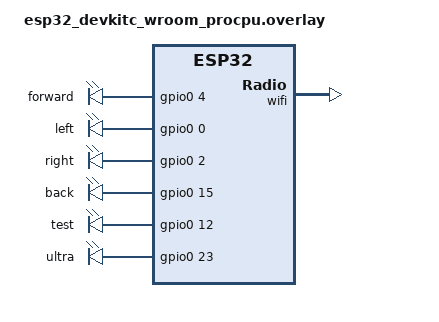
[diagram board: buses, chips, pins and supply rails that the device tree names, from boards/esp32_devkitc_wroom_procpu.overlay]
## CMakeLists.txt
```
# SPDX-License-Identifier: Apache-2.0

cmake_minimum_required(VERSION 3.20.0)

find_package(Zephyr REQUIRED HINTS $ENV{ZEPHYR_BASE})
project(wifi_apsta_mode)

FILE(GLOB app_sources src/*.c)
target_sources(app PRIVATE ${app_sources})
```

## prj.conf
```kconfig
# I literally just copied some config settings over:
# Copyright (c) 2023 Craig Peacock.
#
# SPDX-License-Identifier: Apache-2.0
#

CONFIG_WIFI=y
CONFIG_INIT_STACKS=y
CONFIG_NET_L2_WIFI_MGMT=y

CONFIG_NETWORKING=y
CONFIG_NET_IPV4=y
CONFIG_NET_UDP=y
CONFIG_NET_TCP=y
CONFIG_DNS_RESOLVER=y
CONFIG_DNS_RESOLVER_AI_MAX_ENTRIES=10

CONFIG_NET_SOCKETS=y
CONFIG_HTTP_CLIENT=y

# Use DHCP for IPv4
CONFIG_NET_DHCPV4=y

# Or assign a static IP address (useful for testing)
# Following line must be enabled, otherwise WiFi connection fails with -1.
CONFIG_NET_CONFIG_SETTINGS=y
# Add CONFIG_INIT_TIMEOUT to prevent 30 second timeout when starting:
# [00:00:30.600,250] <err> net_config: Timeout while waiting network interface
# [00:00:30.600,250] <err> net_config: Network initialization failed (-115)
CONFIG_NET_CONFIG_INIT_TIMEOUT=1
#CONFIG_NET_CONFIG_NEED_IPV4=y
#CONFIG_NET_CONFIG_MY_IPV4_ADDR="192.168.0.12"
#CONFIG_NET_CONFIG_MY_IPV4_GW="192.168.0.254"
#CONFIG_NET_CONFIG_NEED_IPV6=y
#CONFIG_NET_CONFIG_MY_IPV6_ADDR="fe80::100"

# Enabling logging can be helpful for debugging
CONFIG_NET_LOG=y
CONFIG_WIFI_LOG_LEVEL_ERR=y
#CONFIG_NET_IPV6_LOG_LEVEL_DBG=y

CONFIG_NET_TX_STACK_SIZE=4096
CONFIG_NET_RX_STACK_SIZE=4096

CONFIG_NET_PKT_RX_COUNT=10
CONFIG_NET_PKT_TX_COUNT=10

CONFIG_NET_BUF_RX_COUNT=20
CONFIG_NET_BUF_TX_COUNT=20

CONFIG_NET_MAX_CONTEXTS=10

# Added to prevent error with missing #include <ethernet/eth_stats.h> for esp_wifi_drv.c
# Adding this line will cause CMAKE Warning: No SOURCES given to Zephyr library: drivers__ethernet
# Just ignore.
CONFIG_NET_L2_ETHERNET=y

CONFIG_PRINTK_BUFFER_SIZE=2048

# Wi-Fi Configuration
CONFIG_WIFI=y

# Network Configuration
CONFIG_NET_CONFIG_AUTO_INIT=n
CONFIG_NET_CONNECTION_MANAGER=y
CONFIG_NET_DHCPV4=y
CONFIG_NET_DHCPV4_SERVER=y
CONFIG_NET_IF_MAX_IPV4_COUNT=2
CONFIG_NET_IF_MAX_IPV6_COUNT=2
CONFIG_NET_IPV4=y
CONFIG_NET_L2_ETHERNET=y
CONFIG_NET_L2_WIFI_MGMT=y
CONFIG_NET_MGMT=y
CONFIG_NET_MGMT_EVENT=y
CONFIG_NET_MGMT_EVENT_INFO=y
CONFIG_NET_MGMT_EVENT_QUEUE_SIZE=10
CONFIG_NET_MGMT_EVENT_STACK_SIZE=4096
CONFIG_NET_PKT_RX_COUNT=16
CONFIG_NET_PKT_TX_COUNT=16
CONFIG_NET_SOCKETS_SERVICE_STACK_SIZE=4096
CONFIG_NET_TCP=y
CONFIG_NET_UDP=y
CONFIG_NETWORKING=y

# LOG Configuration
CONFIG_NET_LOG=y
CONFIG_NET_DHCPV4_SERVER_LOG_LEVEL_DBG=y

# klsjdgpofgyeh3guoijfjasg
CONFIG_POSIX_API=y
CONFIG_WEBSOCKET_CLIENT=y
CONFIG_MAIN_STACK_SIZE=2048
CONFIG_HEAP_MEM_POOL_SIZE=16384

CONFIG_REBOOT=y 
```

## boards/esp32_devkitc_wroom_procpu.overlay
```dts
&wifi {
	status = "okay";
};

/ {
	wifi_ap: wifi_ap {
		compatible = "espressif,esp32-wifi";
		status = "okay";
	};
	leds {
            compatible = "gpio-leds";
            forward: forward {
                    gpios = <&gpio0 4 GPIO_ACTIVE_HIGH>;
            };
			left: left {
                    gpios = <&gpio0 0 GPIO_ACTIVE_HIGH>;
            };
			right: right {
                    gpios = <&gpio0 2 GPIO_ACTIVE_HIGH>;
            };
			back: back {
                    gpios = <&gpio0 15 GPIO_ACTIVE_HIGH>;
            };
                        test: test {
                    gpios = <&gpio0 12 GPIO_ACTIVE_HIGH>;
            };
			ultra: ultra {
                    gpios = <&gpio0 23 GPIO_ACTIVE_HIGH>;
            };
    };
};
```

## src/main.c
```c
/*
 * Copyright (c) 2024 Hubert Guan.
 * Copyright (c) 2023 Craig Peacock.
 * Copyright (c) 2017 ARM Ltd.
 * Copyright (c) 2016 Intel Corporation.
 *
 * SPDX-License-Identifier: Apache-2.0
 */

/**
 * @file main.c
 * @brief Main setup and event-loop based program running on ESP32
 *
 * Includes Wi-Fi management functionality and implements WebSocket and HTTP communication
 * In the future, multi-core would be necessary
 */

/*
 * Craig Peacock's original code actually doesn't compile on current Zephyr
 * So this is modified to keep roughly the same base functionality while being compilable
 */

#include <zephyr/kernel.h>
#include <zephyr/drivers/gpio.h>
#include <zephyr/net/net_if.h>
#include <zephyr/net/wifi_mgmt.h>
#include <zephyr/net/net_event.h>
#include <errno.h>
#include <stdlib.h>
#include <string.h>
#include <zephyr/sys/reboot.h>
#include "websockets.h"
#include "http_requests.h"

static K_SEM_DEFINE(wifi_connected, 0, 1);
static K_SEM_DEFINE(ipv4_address_obtained, 0, 1);

static struct net_mgmt_event_callback wifi_cb;
static struct net_mgmt_event_callback ipv4_cb;

static int sock = -1;

/**
 * @enum CMD_Types
 * @brief Enum for possible commands
 *
 * Fits in 3 bits
 */
static enum CMD_Types {
	FORWARD,
	LEFT,
	RIGHT,
	BACK,
	ENDFORWARD,
	ENDLEFT,
	ENDRIGHT,
	ENDBACK
};
// May want to refactor to use one node with multiple properties
#define FORWARD_NODE DT_NODELABEL(forward)
#define LEFT_NODE    DT_NODELABEL(left)
#define RIGHT_NODE   DT_NODELABEL(right)
#define BACK_NODE    DT_NODELABEL(back)

#define TEST_NODE DT_NODELABEL(test)

#define ULTRA_NODE DT_NODELABEL(ultra)

// In ms
#define POLLING_PER 50
// #define POST_DELAY  500

static const struct gpio_dt_spec forward = GPIO_DT_SPEC_GET(FORWARD_NODE, gpios);
static const struct gpio_dt_spec left = GPIO_DT_SPEC_GET(LEFT_NODE, gpios);
static const struct gpio_dt_spec right = GPIO_DT_SPEC_GET(RIGHT_NODE, gpios);
static const struct gpio_dt_spec back = GPIO_DT_SPEC_GET(BACK_NODE, gpios);

static const struct gpio_dt_spec test = GPIO_DT_SPEC_GET(TEST_NODE, gpios);

static const struct gpio_dt_spec ultra = GPIO_DT_SPEC_GET(ULTRA_NODE, gpios);

#define ULTRA_STACK_SIZE 1024 * 8
#define ULTRA_PRIORITY   -69
// poll for ultrasonic sensor input, highest priority thread (I think)
// TODO make this be executed on a separate core so that it doesn't block websockets

/*
static void ultra_entry_point(void *p1, void *p2, void *p3)
{


	while (true) {
		if (gpio_pin_get_dt(&ultra)) {
			// Add ultrasonic event to db
			int rethttp = HTTPRequest(sock, BACKEND_HOST,
				    "/events/add?description=Ultrasonic\%20event/", HTTP_POST);
			if (rethttp < 0)
			{
				printk("HTTPRequest failed\n");
			}
		}
		k_sleep(K_MSEC(POLLING_PER));
	}
}
K_THREAD_STACK_DEFINE(ultra_stack_area, ULTRA_STACK_SIZE);
struct k_thread ultra_thread_data;
*/

/**
 * @brief Pass callback in to handle status upon connect
 * @param cb: Callback structure
 *
 * Reboots if failed, else gives wifi_connected semaphore
 */
static void handle_wifi_connect_result(struct net_mgmt_event_callback *cb)
{
	const struct wifi_status *status = (const struct wifi_status *)cb->info;

	if (status->status) {
		printk("Connection request failed (%d)\n", status->status);
		sys_reboot(SYS_REBOOT_WARM);
	} else {
		printk("Connected\n");
		k_sem_give(&wifi_connected);
	}
}

/**
 * @brief Pass callback in to handle status upon disconnect
 * @param cb: Callback structure
 *
 * Always reboots
 */
static void handle_wifi_disconnect_result(struct net_mgmt_event_callback *cb)
{
	const struct wifi_status *status = (const struct wifi_status *)cb->info;

	if (status->status) {
		printk("Disconnection request (%d)\n", status->status);
		sys_reboot(SYS_REBOOT_WARM);
	} else {
		printk("Disconnected\n");
		sys_reboot(SYS_REBOOT_WARM);
	}
}

/**
 * @brief Checks if IPV4 address has been obtained from DHCP
 * @param iface: Network interface structure
 *
 * Prints obtained address(es), the subnet mask, and router address
 * Also gives the ipv4_address_obtained semaphore
 */
static void handle_ipv4_result(struct net_if *iface)
{
	int i = 0;

	for (i = 0; i < NET_IF_MAX_IPV4_ADDR; i++) {

		char buf[NET_IPV4_ADDR_LEN];

		if (iface->config.ip.ipv4->unicast[i].ipv4.addr_type != NET_ADDR_DHCP) {
			continue;
		}

		printk("IPv4 address: %s\n",
		       net_addr_ntop(AF_INET,
				     &iface->config.ip.ipv4->unicast[i].ipv4.address.in_addr, buf,
				     sizeof(buf)));
		printk("Subnet: %s\n",
		       net_addr_ntop(AF_INET, &iface->config.ip.ipv4->unicast[i].netmask, buf,
				     sizeof(buf)));
		printk("Router: %s\n",
		       net_addr_ntop(AF_INET, &iface->config.ip.ipv4->gw, buf, sizeof(buf)));
	}

	k_sem_give(&ipv4_address_obtained);
}

/**
 * @brief Logic function that calls the appropriate handling function
 *
 * @param cb: Callback Structure
 * @param mgmt_event: Unsigned integer code for management event
 * @param iface: Network Interface Structure
 */
static void wifi_mgmt_event_handler(struct net_mgmt_event_callback *cb, uint32_t mgmt_event,
				    struct net_if *iface)
{
	switch (mgmt_event) {

	case NET_EVENT_WIFI_CONNECT_RESULT:
		handle_wifi_connect_result(cb);
		break;

	case NET_EVENT_WIFI_DISCONNECT_RESULT:
		handle_wifi_disconnect_result(cb);
		break;

	case NET_EVENT_IPV4_ADDR_ADD:
		handle_ipv4_result(iface);
		break;

	default:
		break;
	}
}

/**
 * @brief Attempts to connect to Wi-FI based on wifi_settings.h
 *
 * Set to only work with open networks (no security)
 */
void wifi_connect(void)
{
	struct net_if *iface = net_if_get_default();

	struct wifi_connect_req_params wifi_params = {0};

	wifi_params.ssid = SSID;
	wifi_params.ssid_length = strlen(SSID);
	wifi_params.channel = WIFI_CHANNEL_ANY;
	wifi_params.security = WIFI_SECURITY_TYPE_NONE;
	wifi_params.band = WIFI_FREQ_BAND_2_4_GHZ;
	wifi_params.mfp = WIFI_MFP_OPTIONAL;

	printk("Connecting to SSID: %s\n", wifi_params.ssid);

	if (net_mgmt(NET_REQUEST_WIFI_CONNECT, iface, &wifi_params,
		     sizeof(struct wifi_connect_req_params))) {
		printk("WiFi Connection Request Failed\n");
		sys_reboot(SYS_REBOOT_WARM);
	} else {
		printk("Connected successfully\n");
	}
}

/**
 * @brief Get the current network status
 *
 */
void wifi_status(void)
{
	struct net_if *iface = net_if_get_default();

	struct wifi_iface_status status = {0};

	if (net_mgmt(NET_REQUEST_WIFI_IFACE_STATUS, iface, &status,
		     sizeof(struct wifi_iface_status))) {
		printk("WiFi Status Request Failed\n");
	}

	if (status.state >= WIFI_STATE_ASSOCIATED) {
		printk("SSID: %-32s\n", status.ssid);
		printk("Band: %s\n", wifi_band_txt(status.band));
		printk("Channel: %d\n", status.channel);
		printk("Security: %s\n", wifi_security_txt(status.security));
		printk("RSSI: %d\n", status.rssi);
	}
}

/**
 * @brief Attempt to disconnect from Wi-Fi
 *
 */
void wifi_disconnect(void)
{
	struct net_if *iface = net_if_get_default();

	if (net_mgmt(NET_REQUEST_WIFI_DISCONNECT, iface, NULL, 0)) {
		printk("WiFi Disconnection Request Failed\n");
	}
}

/**
 * @brief Tries to connect to HTTP Server
 *
 * @return int: Socket file descriptor upon success or -1 upon fail
 */
// returns the socket fd and -1 upon fail
int connect_and_get_socket(void)
{
	printk("U-Peeper WiFi App\nBoard: %s\n", CONFIG_BOARD);

	net_mgmt_init_event_callback(&wifi_cb, wifi_mgmt_event_handler,
				     NET_EVENT_WIFI_CONNECT_RESULT |
					     NET_EVENT_WIFI_DISCONNECT_RESULT);

	net_mgmt_init_event_callback(&ipv4_cb, wifi_mgmt_event_handler, NET_EVENT_IPV4_ADDR_ADD);

	net_mgmt_add_event_callback(&wifi_cb);
	net_mgmt_add_event_callback(&ipv4_cb);

	wifi_connect();
	k_sem_take(&wifi_connected, K_FOREVER);
	wifi_status();
	k_sem_take(&ipv4_address_obtained, K_FOREVER);
	printk("Ready...\n\n");

	printk("\nLooking up IP addresses:\n");

	struct zsock_addrinfo *res;
	int st, sock = -1;
	static struct zsock_addrinfo hints;
	/*
	 * struct sock_addr s_addr;
	 * res->ai_addr = &s_addr;
	 */

	hints.ai_family = AF_INET;
	hints.ai_socktype = SOCK_STREAM;

	st = zsock_getaddrinfo(BACKEND_HOST, BACKEND_PORT, &hints, &res);
	if (st) {
		printf("Unable to resolve address, quitting\n");

		// k_sleep(K_SECONDS(5));
		wifi_disconnect();
		// Error codes aren't really supported right now
		return 0;
	}

	printk("bConnecting to HTTP Server:\n");
	sock = ConnectSocket(&res, atof(BACKEND_PORT));

	/* Removed for efficient rebooting
	PrintAddrInfoResults(&res);

	int httpret = HTTPRequest(sock, BACKEND_HOST, "/", HTTP_GET);
	if (httpret < 0) {
		zsock_close(sock);

		wifi_disconnect();
		return -1;
	}
	*/
	return sock;
}

/**
 * @brief Tries to connect to a WebSocket endpoint on the HTTP Server
 *
 * @param sock: Socket file descriptor
 * @return int: WebSocket file descriptor upon success, -1 upon failure
 */
int connect_websocket(int sock)
{
	int websock = -1;
	int32_t timeout = 3 * MSEC_PER_SEC;
	// struct sockaddr_in addr4;

	printk("\nConnecting to HTTP Server:\n");

	struct websocket_request req;

	memset(&req, 0, sizeof(req));

	req.host = BACKEND_HOST;
	req.url = "/mcu/ws/";
	req.cb = connect_cb;
	req.tmp_buf = temp_recv_buf_ipv4;
	req.tmp_buf_len = sizeof(temp_recv_buf_ipv4);

	websock = websocket_connect(sock, &req, timeout, "IPv4");
	if (websock < 0) {
		printk("Cannot connect to %s:%s", BACKEND_HOST, BACKEND_PORT);
		return websock;
	}

	printk("Websocket IPv4 %d", websock);
	return websock;
}

/**
 * @brief Main function
 *
 * Continuously tries to connect to U-Peeper open wifi network, then to the backend host, and
 * finally to the mcu WebSocket endpoint. The OS reboots upon disconnection or another failure.
 */
int main(void)
{
	int retforw = gpio_pin_configure_dt(&forward, GPIO_OUTPUT_INACTIVE);
	if (retforw < 0) {
		sys_reboot(SYS_REBOOT_WARM);
		return -1;
	}

	int retleft = gpio_pin_configure_dt(&left, GPIO_OUTPUT_INACTIVE);
	if (retleft < 0) {
		sys_reboot(SYS_REBOOT_WARM);
		return -1;
	}

	int retright = gpio_pin_configure_dt(&right, GPIO_OUTPUT_INACTIVE);
	if (retright < 0) {
		sys_reboot(SYS_REBOOT_WARM);
		return -1;
	}

	int retback = gpio_pin_configure_dt(&back, GPIO_OUTPUT_INACTIVE);
	if (retback < 0) {
		sys_reboot(SYS_REBOOT_WARM);
		return -1;
	}

	int rettest = gpio_pin_configure_dt(&test, GPIO_OUTPUT_INACTIVE);
	if (rettest < 0) {
		sys_reboot(SYS_REBOOT_WARM);
		return -1;
	}
	gpio_pin_set_dt(&test, 0);
	int retultra = gpio_pin_configure_dt(&ultra, GPIO_INPUT);
	if (retultra < 0) {
		sys_reboot(SYS_REBOOT_WARM);
		return -1;
	}
	// NASA would be pissed that I don't have max iterations on these loops
	do {
		// k_sleep(K_MSEC(100));
		sock = connect_and_get_socket();
	} while (sock < 0);

	int websock = -1;
	while (websock < 0) {
		// k_sleep(K_SECONDS(1));
		websock = connect_websocket(sock);
	};
	gpio_pin_set_dt(&test, 1);

	// Main command receive loop
	while (true) {
		uint8_t buf = ~0;
		int retws = recv_data_ws(websock, 1, &buf, 1, "IPv4");
		if (retws < 0) {
			printk("Failed to receive websocket byte\n");
			sys_reboot(SYS_REBOOT_WARM);
			return -1;
		}

		printk("\nReceived byte: %d", buf);

		switch (buf) {
		case FORWARD:
			gpio_pin_set_dt(&forward, 1);
			break;
		case LEFT:
			gpio_pin_set_dt(&left, 1);
			break;
		case RIGHT:
			gpio_pin_set_dt(&right, 1);
			break;
		case BACK:
			gpio_pin_set_dt(&back, 1);
			break;
		case ENDFORWARD:
			gpio_pin_set_dt(&forward, 0);
			break;
		case ENDLEFT:
			gpio_pin_set_dt(&left, 0);
			break;
		case ENDRIGHT:
			gpio_pin_set_dt(&right, 0);
			break;
		case ENDBACK:
			gpio_pin_set_dt(&back, 0);
			break;
		default:
			printk("Invalid websocket message: %d\n", buf);
			break;
		}
	}
}
```

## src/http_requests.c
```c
#include <stdio.h>
#include <stdlib.h>
#include <zephyr/net/socket.h>
#include <zephyr/kernel.h>
#include "http_requests.h"

void PrintAddrInfoResults(struct zsock_addrinfo **results)
{
	char ipv4[INET_ADDRSTRLEN];
	struct sockaddr_in *sa;
	struct zsock_addrinfo *rp;

	for (rp = *results; rp != NULL; rp = rp->ai_next) {
		// IPv4 Addresses only
		sa = (struct sockaddr_in *)rp->ai_addr;
		zsock_inet_ntop(AF_INET, &sa->sin_addr, ipv4, INET_ADDRSTRLEN);
		printf("IPv4: %s\n", ipv4);
	}
}

int ConnectSocket(struct zsock_addrinfo **results, uint16_t port)
{
	int sock;
	int ret;
	struct zsock_addrinfo *rp;
	struct sockaddr_in *sa;

	// Create IPv4 Socket
	sock = zsock_socket(AF_INET, SOCK_STREAM, IPPROTO_TCP);
	if (sock < 0) {
		printk("Error creating IPv4 socket\n");
		return (-1);
	}

	// Iterate through IPv4 addresses until we get a successful connection
	for (rp = *results; rp != NULL; rp = rp->ai_next) {
		if (rp->ai_addr->sa_family == AF_INET) {
			// IPv4 Address
			sa = (struct sockaddr_in *)rp->ai_addr;
			sa->sin_port = htons(port);

			char ipv4[INET_ADDRSTRLEN];
			zsock_inet_ntop(AF_INET, &sa->sin_addr, ipv4, INET_ADDRSTRLEN);
			printk("Connecting to %s:%d ", ipv4, port);

			ret = zsock_connect(sock, (struct sockaddr *)sa,
					    sizeof(struct sockaddr_in));
			if (ret == 0) {
				printk("Success\r\n");
				return (sock);
			} else {
				printk("Failure (%d)\r\n", ret);
			}
		}
	}
	return 0;
}

static void http_response_cb(struct http_response *rsp, enum http_final_call final_data,
			     void *user_data)
{
	// Can allocate heap memory to store http get reqs, however only post is used right now
	printk("HTTP Response Callback: %.*s", rsp->data_len, rsp->recv_buf);
}

int HTTPRequest(int sock, char *hostname, char *url, enum http_method method)
{
	struct http_request req = {0};
	static uint8_t recv_buf[512];
	int ret;

	req.method = method;
	req.url = url;
	req.host = hostname;
	req.protocol = "HTTP/1.1";
	req.response = http_response_cb;
	req.recv_buf = recv_buf;
	req.recv_buf_len = sizeof(recv_buf);

	ret = http_client_req(sock, &req, 5000, NULL);
	return ret;
}
```

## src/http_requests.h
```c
/**
 * @file http_requests.h
 * @brief HTTP request and socket management header file
 *
 */

#ifndef HTTP_REQUESTS_H
#include <stdio.h>
#include <stdlib.h>
#include <zephyr/net/http/client.h>
#include <zephyr/net/socket.h>

/**
 * @brief Prints IPv4 addresses after IP query
 * @param results: zsock_addrinfo array pointer used to store IP query results
 */
void PrintAddrInfoResults(struct zsock_addrinfo **results);

/**
 * @brief Makes an HTTP request
 *
 * @param sock: Socket file descriptor
 * @param hostname: Host IP Address and port
 * @param url: Path to endpoint after hostname
 * @param method: HTTP method
 * @return int: <0 if error, else number of bytes sent to the server
 */
int HTTPRequest(int sock, char *hostname, char *url, enum http_method method);

/**
 * @brief Makes a socket connection after IP query
 *
 * @param results: zsock_addrinfo array pointer used to store IP query results
 * @param port: Host port
 * @return int: <0 if error, else socket file descriptor
 */
int ConnectSocket(struct zsock_addrinfo **results, uint16_t port);

#endif // !HTTP_REQUESTS_H
```

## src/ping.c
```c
/* 
 * Copyright (c) 2024 Craig Peacock.
 * 
 * SPDX-License-Identifier: Apache-2.0
 */

#include <stdio.h>
#include <stdlib.h>
#include <zephyr/net/socket.h>
#include <zephyr/kernel.h>
#include <zephyr/net/icmp.h>
#include <zephyr/net/net_ip.h>

static int icmp_echo_reply_handler(struct net_icmp_ctx *ctx,
				struct net_pkt *pkt,
				struct net_icmp_ip_hdr *hdr,
				struct net_icmp_hdr *icmp_hdr,
				void *user_data)
{
	uint32_t cycles;
	char ipv4[INET_ADDRSTRLEN];
	zsock_inet_ntop(AF_INET, &hdr->ipv4->src, ipv4, INET_ADDRSTRLEN);

	uint32_t *start_cycles = user_data;

	cycles = k_cycle_get_32() - *start_cycles;

	printk("Reply from %s: bytes=%d time=%dms TTL=%d\r\n",
			ipv4,
			ntohs(hdr->ipv4->len),
			((uint32_t)k_cyc_to_ns_floor64(cycles) / 1000000),
			hdr->ipv4->ttl);
    return 0;
}

void ping(char* ipv4_addr, uint8_t count)
{
	uint32_t cycles;
	int ret;
	struct net_icmp_ctx icmp_context;

	// Register handler for echo reply
	ret = net_icmp_init_ctx(&icmp_context, NET_ICMPV4_ECHO_REPLY, 0, icmp_echo_reply_handler);
	if (ret != 0) {
		printk("Failed to init ping, err: %d", ret);
	}

	struct net_if *iface = net_if_get_default();
	struct sockaddr_in dst_addr;
	net_addr_pton(AF_INET, ipv4_addr, &dst_addr.sin_addr);
	dst_addr.sin_family = AF_INET;

	for (int i = 0; i < count; i++)
	{
		cycles = k_cycle_get_32();
		ret = net_icmp_send_echo_request(&icmp_context, iface, &dst_addr, NULL, &cycles);
		if (ret != 0) {
			printk("Failed to send ping, err: %d", ret);
		}
        else
        {
            printk("Pinged google bruv");
        }
		k_sleep(K_SECONDS(2));
	}

	net_icmp_cleanup_ctx(&icmp_context);
}
```

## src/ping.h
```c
void ping(char* ipv4_addr, uint8_t count);
```

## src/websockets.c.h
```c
/*
 * Copyright (c) 2019 Intel Corporation
 *
 * SPDX-License-Identifier: Apache-2.0
 */

#include "websockets.h"
#include "wifi_settings.h"

int setup_socket(sa_family_t family, const char *server, int port, int *sock, struct sockaddr *addr,
		 socklen_t addr_len)
{
	const char *family_str = "IPv4";
	int ret = 0;

	memset(addr, 0, addr_len);

	net_sin(addr)->sin_family = AF_INET;
	net_sin(addr)->sin_port = htons(port);
	inet_pton(family, server, &net_sin(addr)->sin_addr);

	*sock = socket(family, SOCK_STREAM, IPPROTO_TCP);

	if (*sock < 0) {
		LOG_ERR("Failed to create %s HTTP socket (%d)", family_str, -errno);
	}

	return ret;
}

int connect_socket(sa_family_t family, const char *server, int port, int *sock,
		   struct sockaddr *addr, socklen_t addr_len)
{
	int ret;

	ret = setup_socket(family, server, port, sock, addr, addr_len);
	if (ret < 0 || *sock < 0) {
		return -1;
	}

	ret = connect(*sock, addr, addr_len);
	if (ret < 0) {
		LOG_ERR("Cannot connect to %s remote (%d)", "IPv4", -errno);
		ret = -errno;
	}

	return ret;
}

int connect_cb(int sock, struct http_request *req, void *user_data)
{
	LOG_INF("Websocket %d for %s connected.", sock, (char *)user_data);

	return 0;
}

size_t how_much_to_send(size_t max_len)
{
	size_t amount;

	do {
		amount = sys_rand32_get() % max_len;
	} while (amount == 0U);

	return amount;
}

ssize_t sendall_with_ws_api(int sock, const void *buf, size_t len)
{
	return websocket_send_msg(sock, buf, len, WEBSOCKET_OPCODE_DATA_TEXT, true, true,
				  SYS_FOREVER_MS);
}

void recv_data_ws_api(int sock, size_t amount, uint8_t *buf, size_t buf_len, const char *proto)
{
	uint64_t remaining = ULLONG_MAX;
	int total_read;
	uint32_t message_type;
	int ret, read_pos;

	read_pos = 0;
	total_read = 0;

	while (remaining > 0) {
		ret = websocket_recv_msg(sock, buf + read_pos, buf_len - read_pos, &message_type,
					 &remaining, 0);
		if (ret < 0) {
			if (ret == -EAGAIN) {
				k_sleep(K_MSEC(50));
				continue;
			}

			LOG_DBG("%s connection closed while "
				"waiting (%d/%d)",
				proto, ret, errno);
			break;
		}

		read_pos += ret;
		total_read += ret;
	}

	if (remaining != 0 || total_read != amount ||
	    /* Do not check the final \n at the end of the msg */
	    memcmp(lorem_ipsum, buf, amount - 1) != 0) {
		LOG_ERR("%s data recv failure %zd/%d bytes (remaining %" PRId64 ")", proto, amount,
			total_read, remaining);
		LOG_HEXDUMP_DBG(buf, total_read, "received ws buf");
		LOG_HEXDUMP_DBG(lorem_ipsum, total_read, "sent ws buf");
	} else {
		LOG_DBG("%s recv %d bytes", proto, total_read);
	}
}

bool send_and_wait_msg(int sock, size_t amount, const char *proto, uint8_t *buf, size_t buf_len)
{
	static int count;
	int ret;

	if (sock < 0) {
		return true;
	}

	/* Terminate the sent data with \n so that we can use the
	 *      websocketd --port=9001 cat
	 * command in server side.
	 */
	memcpy(buf, lorem_ipsum, amount);
	buf[amount] = '\n';

	ret = sendall_with_ws_api(sock, buf, amount + 1);

	if (ret <= 0) {
		if (ret < 0) {
			LOG_ERR("%s failed to send data using %s (%d)", proto,
				(count % 2) ? "ws API" : "socket API", ret);
		} else {
			LOG_DBG("%s connection closed", proto);
		}

		return false;
	} else {
		LOG_DBG("%s sent %d bytes", proto, ret);
	}

	recv_data_ws_api(sock, amount + 1, buf, buf_len, proto);

	count++;

	return true;
}

static int sample_main(void)
{
	/* Just an example how to set extra headers */
	const char *extra_headers[] = {"Origin: http://foobar\r\n", NULL};
	int sock4 = -1;
	int websock4 = -1;
	int32_t timeout = 3 * MSEC_PER_SEC;
	struct sockaddr_in addr4;
	size_t amount;
	int ret;

	(void)connect_socket(AF_INET, SERVER_ADDR4, SERVER_PORT, &sock4, (struct sockaddr *)&addr4,
			     sizeof(addr4));

	if (sock4 < 0) {
		LOG_ERR("Cannot create HTTP connection.");
		k_sleep(K_FOREVER);
	}

	struct websocket_request req;

	memset(&req, 0, sizeof(req));

	req.host = SERVER_ADDR4;
	req.url = "/ws/";
	req.optional_headers = extra_headers;
	req.cb = connect_cb;
	req.tmp_buf = temp_recv_buf_ipv4;
	req.tmp_buf_len = sizeof(temp_recv_buf_ipv4);

	websock4 = websocket_connect(sock4, &req, timeout, "IPv4");
	if (websock4 < 0) {
		LOG_ERR("Cannot connect to %s:%d", SERVER_ADDR4, SERVER_PORT);
		close(sock4);
	}

	if (websock4 < 0) {
		LOG_ERR("No IPv4 connectivity");
		k_sleep(K_FOREVER);
	}

	LOG_INF("Websocket IPv4 %d", websock4);

	while (1) {
		amount = how_much_to_send(ipsum_len);

		if (websock4 >= 0 && !send_and_wait_msg(websock4, amount, "IPv4", recv_buf_ipv4,
							sizeof(recv_buf_ipv4))) {
			break;
		}

		k_sleep(K_MSEC(250));
	}

	if (websock4 >= 0) {
		close(websock4);
	}

	if (sock4 >= 0) {
		close(sock4);
	}

	k_sleep(K_FOREVER);
	return 0;
}
```

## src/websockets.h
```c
/**
 * @file websockets.h
 * @brief WebSocket connection management header file
 *
 */

#ifndef WEBSOCKETS_H
#define WEBSOCKETS_H 6.9

#include <zephyr/logging/log.h>
LOG_MODULE_REGISTER(net_websocket_client_sample, LOG_LEVEL_DBG);

#include <zephyr/misc/lorem_ipsum.h>
#include <zephyr/net/net_ip.h>
#include <zephyr/net/socket.h>
#include <zephyr/net/websocket.h>
#include <zephyr/random/random.h>
#include <zephyr/shell/shell.h>
#include "wifi_settings.h"

#define SERVER_ADDR4 BACKEND_HOST

#define MAX_RECV_BUF_LEN 696

/* We need to allocate bigger buffer for the websocket data we receive so that
 * the websocket header fits into it.
 */
#define EXTRA_BUF_SPACE 30

uint8_t temp_recv_buf_ipv4[MAX_RECV_BUF_LEN + EXTRA_BUF_SPACE];

int connect_cb(int sock, struct http_request *req, void *user_data)
{
	printk("Websocket %d for %s connected.", sock, (char *)user_data);

	return 0;
}

size_t how_much_to_send(size_t max_len)
{
	size_t amount;

	do {
		amount = sys_rand32_get() % max_len;
	} while (amount == 0U);

	return amount;
}

/**
 * @brief Send data across WebSocket connection
 *
 * @param sock: WebSocket file descriptor
 * @param buf: Buffer to send from
 * @param len: Length of message (obviously in bytes)
 * @return ssize_t: <0 if error, else the number of bytes sent
 */
ssize_t sendall_ws(int sock, const void *buf, size_t len)
{
	return websocket_send_msg(sock, buf, len, WEBSOCKET_OPCODE_DATA_TEXT, true, true,
				  SYS_FOREVER_MS);
}

/**
 * @brief Receive data over WebSocket connection
 *
 * @param sock: WebSocket file descriptor
 * @param amount: Amount of data to receive
 * @param buf: Buffer to write to
 * @param buf_len: Length of buffer
 * @param proto: Network protocol (usu. "IPv4")
 * @return int: <0 if error, else number of bytes received
 */
int recv_data_ws(int sock, size_t amount, uint8_t *buf, size_t buf_len, const char *proto)
{
	uint64_t remaining = ULLONG_MAX;
	int total_read;
	uint32_t message_type;
	int ret, read_pos;

	ret = -1;
	read_pos = 0;
	total_read = 0;

	while (remaining > 0) {
		ret = websocket_recv_msg(sock, buf + read_pos, buf_len - read_pos, &message_type,
					 &remaining, 0);
		if (ret < 0) {
			if (ret == -EAGAIN) {
				k_sleep(K_MSEC(50));
				continue;
			}

			printk("%s connection closed while "
			       "waiting (%d/%d)",
			       proto, ret, errno);
			break;
		}

		read_pos += ret;
		total_read += ret;
	}

	return ret;
}

#endif // !WEBSOCKETS_H
```
